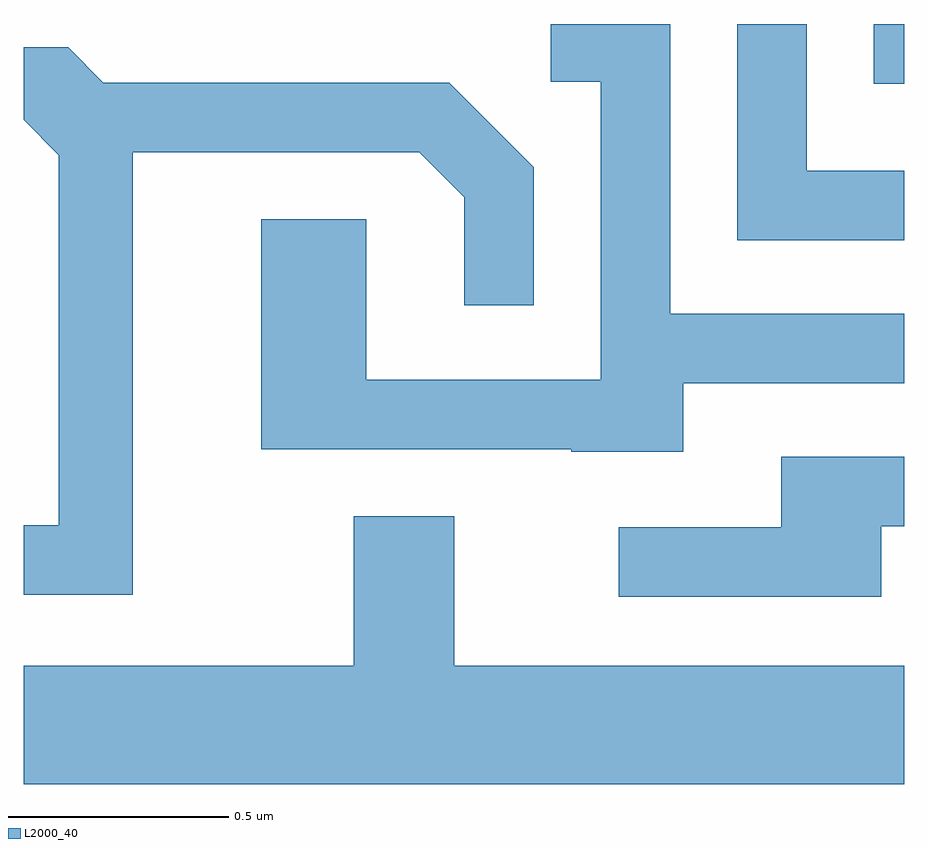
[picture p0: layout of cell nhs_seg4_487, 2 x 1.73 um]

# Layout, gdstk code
import gdstk
lib = gdstk.Library(unit=1e-6, precision=1e-09)
def R(c, l, rs):  # rectangles x0, y0, x1, y1
    for r in rs: c.add(gdstk.rectangle(r[:2], r[2:], *l))
def P(c, l, *ps):  # polygons
    for p in ps: c.add(gdstk.Polygon(p, *l))
L2000_40 = (2000, 40)

nhs_seg4_487 = lib.new_cell('nhs_seg4_487')
R(nhs_seg4_487, L2000_40, [(190.541,1331.846,190.611,1331.982)])
P(nhs_seg4_487, L2000_40, [(190.611,1331.649),(190.389,1331.649),(190.389,1331.982),(190.231,1331.982),(190.231,1331.491),(190.611,1331.491)],
  [(190.109,1331.166),(190.611,1331.166),(190.611,1331.324),(190.079,1331.324),(190.079,1331.982),(189.808,1331.982),(189.808,1331.851),(189.921,1331.851),(189.921,1331.174),(189.389,1331.174),(189.389,1331.539),(189.151,1331.539),(189.151,1331.016),(189.855,1331.016),(189.855,1331.011),(190.109,1331.011)],
  [(188.859,1331.691),(189.509,1331.691),(189.611,1331.589),(189.611,1331.343),(189.769,1331.343),(189.769,1331.657),(189.577,1331.849),(188.792,1331.849),(188.712,1331.929),(188.611,1331.929),(188.611,1331.764),(188.691,1331.684),(188.691,1330.844),(188.611,1330.844),(188.611,1330.686),(188.859,1330.686)],
  [(190.559,1330.841),(190.611,1330.841),(190.611,1330.999),(190.331,1330.999),(190.331,1330.839),(189.963,1330.839),(189.963,1330.681),(190.559,1330.681)],
  [(190.611,1330.524),(189.589,1330.524),(189.589,1330.864),(189.361,1330.864),(189.361,1330.524),(188.611,1330.524),(188.611,1330.256),(190.611,1330.256)])

lib.write_gds('nhs_seg4_487.gds')
